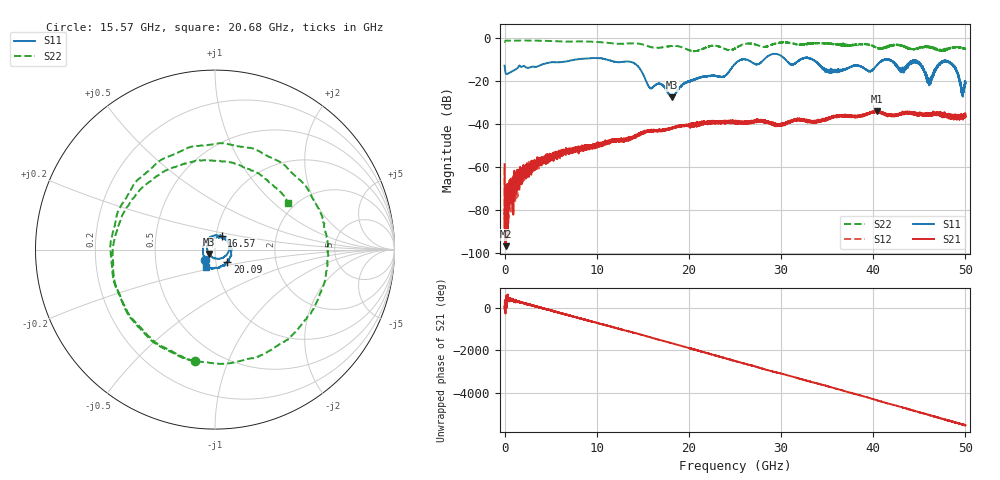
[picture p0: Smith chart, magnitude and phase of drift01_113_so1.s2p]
!Created with skrf (http://scikit-rf.org).
# Hz S RI R 50.0
!freq ReS11 ImS11 ReS21 ImS21 ReS12 ImS12 ReS22 ImS22
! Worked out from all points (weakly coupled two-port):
!   10001 points, 300 kHz to 50 GHz, reference 50 ohm
!   highest |S21| = -34.00 dB at 40.37 GHz (marker M1); lowest = -96.7 dB at 140.3 MHz (marker M2)
!   lowest |S11| = -27.7 dB at 18.13 GHz (marker M3), VSWR 1.09, Z = 46.7 - j2.22 ohm
!   |S11| at or under -10 dB: start of sweep to 8.081 GHz; 10.91 GHz to 26 GHz (15.09 GHz wide, 81.8 % of centre); 41.42 GHz to end of sweep (the widest 3 of 13)
!   |S22| runs from -6.4 to -1.4 dB; largest |S21 - S12| = 0.0044
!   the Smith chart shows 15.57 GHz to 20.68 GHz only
!   S11 on the Smith chart (normalised r, x): 15.57 GHz: 0.89, -0.10; 16.57 GHz: 1.06, +0.16; 20.09 GHz: 1.14, -0.16; 20.68 GHz: 0.89, -0.18
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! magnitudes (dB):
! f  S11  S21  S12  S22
! 300 kHz  -13.0  -58.7  -60.4  -2.0
! 140.3 MHz  -16.7  -96.7  -81.5  -1.5
! 3.06 GHz  -13.4  -59.8  -59.2  -1.4
! 8.335 GHz  -9.9  -51.6  -51.7  -1.8
! 13.88 GHz  -11.5  -46.0  -46.5  -2.7
! 15.57 GHz  -22.1  -43.6  -43.5  -4.0
! 16.57 GHz  -21.5  -43.1  -42.9  -4.7
! 16.67 GHz  -21.4  -43.1  -43.1  -4.8
! 18.13 GHz  -27.7  -42.1  -41.9  -3.9
! 20.09 GHz  -20.2  -40.8  -41.0  -5.9
! 20.68 GHz  -19.2  -40.7  -39.9  -6.3
! 25 GHz  -12.2  -39.4  -39.1  -5.0
! 33.34 GHz  -10.0  -39.3  -39.2  -2.6
! 35.23 GHz  -15.0  -37.5  -37.2  -3.0
! 40.37 GHz  -13.0  -34.0  -34.5  -4.7
! 41.67 GHz  -10.2  -36.4  -36.0  -4.3
! 43.1 GHz  -15.0  -35.1  -35.3  -3.7
! 44.8 GHz  -11.4  -35.9  -35.4  -5.0
! 46.11 GHz  -20.8  -36.4  -35.9  -4.4
! 48.06 GHz  -11.2  -36.5  -35.6  -5.2
! 49.64 GHz  -24.5  -36.8  -36.6  -4.7
! 50 GHz  -21.3  -36.2  -37.2  -5.3
